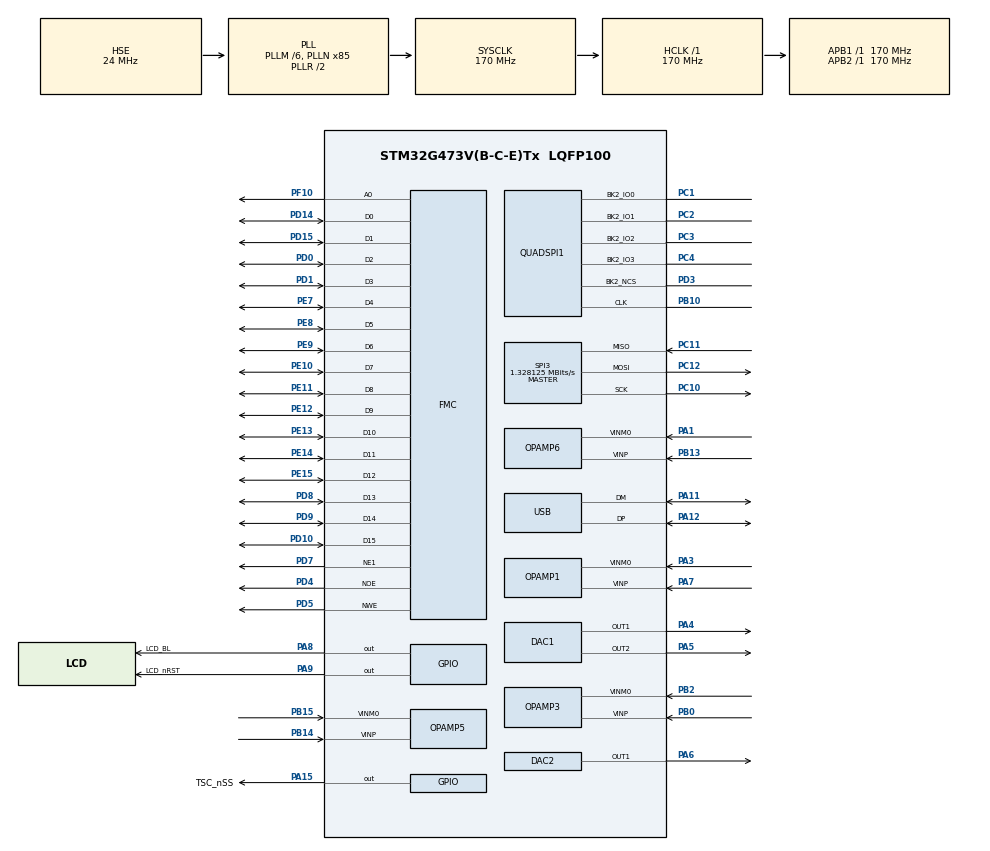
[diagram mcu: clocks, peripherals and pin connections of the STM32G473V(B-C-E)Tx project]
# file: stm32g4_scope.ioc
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ADC1.AWD1HighThreshold=4095
ADC1.AWD1ITMode=ENABLE
ADC1.AWD1LowThreshold=2048+768
ADC1.AWD2HighThreshold=2048+768
ADC1.AWD2ITMode=ENABLE
ADC1.AWDChannel-1\#ChannelRegularConversion=ADC_CHANNEL_VOPAMP1
ADC1.Channel-1\#ChannelRegularConversion=ADC_CHANNEL_VOPAMP1
ADC1.DMAContinuousRequests=ENABLE
ADC1.EnableAnalogWatchDog1=true
ADC1.EnableAnalogWatchDog2=true
ADC1.ExternalTrigConv=ADC_EXTERNALTRIG_T2_TRGO
ADC1.MonitoredBy-1\#ChannelRegularConversion=ADC_ANALOGWATCHDOG_2
ADC1.NbrOfConversionFlag=1
ADC1.OffsetNumber-1\#ChannelRegularConversion=ADC_OFFSET_NONE
ADC1.Rank-1\#ChannelRegularConversion=1
ADC1.RegFilteringConfig-1\#ChannelRegularConversion=ADC_AWD_FILTERING_NONE
ADC1.SamplingTime-1\#ChannelRegularConversion=ADC_SAMPLETIME_2CYCLES_5
ADC1.WDG2ChannelR1=ADC_CHANNEL_VOPAMP1
ADC1.WatchdogChannel=ADC_CHANNEL_VOPAMP1
ADC1.WatchdogMode2=ADC_ANALOGWATCHDOG_SINGLE_REGINJEC
ADC1.master=1
ADC3.AWD1ITMode=ENABLE
ADC3.AWD2ITMode=ENABLE
ADC3.AWDChannel-0\#ChannelRegularConversion=ADC_CHANNEL_VOPAMP3_ADC3
ADC3.Channel-0\#ChannelRegularConversion=ADC_CHANNEL_VOPAMP3_ADC3
ADC3.DMAContinuousRequests=ENABLE
ADC3.EnableAnalogWatchDog1=true
ADC3.EnableAnalogWatchDog2=true
ADC3.ExternalTrigConv=ADC_EXTERNALTRIG_T2_TRGO
ADC3.MonitoredBy-0\#ChannelRegularConversion=ADC_ANALOGWATCHDOG_2
ADC3.NbrOfConversionFlag=1
ADC3.OffsetNumber-0\#ChannelRegularConversion=ADC_OFFSET_NONE
ADC3.Rank-0\#ChannelRegularConversion=1
ADC3.RegFilteringConfig-0\#ChannelRegularConversion=ADC_AWD_FILTERING_NONE
ADC3.SamplingTime-0\#ChannelRegularConversion=ADC_SAMPLETIME_2CYCLES_5
ADC3.WDG2ChannelR1=ADC_CHANNEL_VOPAMP3_ADC3
ADC3.WatchdogChannel=ADC_CHANNEL_VOPAMP3_ADC3
ADC3.WatchdogMode2=ADC_ANALOGWATCHDOG_SINGLE_REGINJEC
ADC3.master=1
ADC4.AWD1ITMode=ENABLE
ADC4.AWD2ITMode=ENABLE
ADC4.AWDChannel-0\#ChannelRegularConversion=ADC_CHANNEL_VOPAMP6
ADC4.Channel-0\#ChannelRegularConversion=ADC_CHANNEL_VOPAMP6
ADC4.DMAContinuousRequests=ENABLE
ADC4.EnableAnalogWatchDog1=true
ADC4.EnableAnalogWatchDog2=true
ADC4.ExternalTrigConv=ADC_EXTERNALTRIG_T2_TRGO
ADC4.MonitoredBy-0\#ChannelRegularConversion=ADC_ANALOGWATCHDOG_2
ADC4.NbrOfConversionFlag=1
ADC4.OffsetNumber-0\#ChannelRegularConversion=ADC_OFFSET_NONE
ADC4.Rank-0\#ChannelRegularConversion=1
ADC4.RegFilteringConfig-0\#ChannelRegularConversion=ADC_AWD_FILTERING_NONE
ADC4.SamplingTime-0\#ChannelRegularConversion=ADC_SAMPLETIME_2CYCLES_5
ADC4.WDG2ChannelR1=ADC_CHANNEL_VOPAMP6
ADC4.WatchdogChannel=ADC_CHANNEL_VOPAMP6
ADC4.WatchdogMode2=ADC_ANALOGWATCHDOG_SINGLE_REGINJEC
ADC5.AWD1ITMode=ENABLE
ADC5.AWD2ITMode=ENABLE
ADC5.AWDChannel-0\#ChannelRegularConversion=ADC_CHANNEL_VOPAMP5
ADC5.Channel-0\#ChannelRegularConversion=ADC_CHANNEL_VOPAMP5
ADC5.DMAContinuousRequests=ENABLE
ADC5.EnableAnalogWatchDog1=true
ADC5.EnableAnalogWatchDog2=true
ADC5.ExternalTrigConv=ADC_EXTERNALTRIG_T2_TRGO
ADC5.MonitoredBy-0\#ChannelRegularConversion=ADC_ANALOGWATCHDOG_2
ADC5.NbrOfConversionFlag=1
ADC5.OffsetNumber-0\#ChannelRegularConversion=ADC_OFFSET_NONE
ADC5.Rank-0\#ChannelRegularConversion=1
ADC5.RegFilteringConfig-0\#ChannelRegularConversion=ADC_AWD_FILTERING_NONE
ADC5.SamplingTime-0\#ChannelRegularConversion=ADC_SAMPLETIME_2CYCLES_5
ADC5.WDG2ChannelR1=ADC_CHANNEL_VOPAMP5
ADC5.WatchdogChannel=ADC_CHANNEL_VOPAMP5
ADC5.WatchdogMode2=ADC_ANALOGWATCHDOG_SINGLE_REGINJEC
DAC1.DAC_Channel-DAC_OUT2=DAC_CHANNEL_2
DAC1.DAC_Trigger_OUT1-DAC_OUT1=DAC_TRIGGER_T4_TRGO
DAC1.DAC_Trigger_OUT2-DAC_OUT2=DAC_TRIGGER_T6_TRGO
Dma.ADC1.0.Direction=DMA_PERIPH_TO_MEMORY
Dma.ADC1.0.EventEnable=DISABLE
Dma.ADC1.0.Instance=DMA1_Channel1
Dma.ADC1.0.MemDataAlignment=DMA_MDATAALIGN_HALFWORD
Dma.ADC1.0.MemInc=DMA_MINC_ENABLE
Dma.ADC1.0.Mode=DMA_CIRCULAR
Dma.ADC1.0.PeriphDataAlignment=DMA_PDATAALIGN_HALFWORD
Dma.ADC1.0.PeriphInc=DMA_PINC_DISABLE
Dma.ADC1.0.Polarity=HAL_DMAMUX_REQ_GEN_RISING
Dma.ADC1.0.Priority=DMA_PRIORITY_LOW
Dma.ADC1.0.RequestNumber=1
Dma.ADC1.0.SignalID=NONE
Dma.ADC1.0.SyncEnable=DISABLE
Dma.ADC1.0.SyncPolarity=HAL_DMAMUX_SYNC_NO_EVENT
Dma.ADC1.0.SyncRequestNumber=1
Dma.ADC1.0.SyncSignalID=NONE
Dma.ADC3.2.Direction=DMA_PERIPH_TO_MEMORY
Dma.ADC3.2.EventEnable=DISABLE
Dma.ADC3.2.Instance=DMA1_Channel2
Dma.ADC3.2.MemDataAlignment=DMA_MDATAALIGN_HALFWORD
Dma.ADC3.2.MemInc=DMA_MINC_ENABLE
Dma.ADC3.2.Mode=DMA_CIRCULAR
Dma.ADC3.2.PeriphDataAlignment=DMA_PDATAALIGN_HALFWORD
Dma.ADC3.2.PeriphInc=DMA_PINC_DISABLE
Dma.ADC3.2.Polarity=HAL_DMAMUX_REQ_GEN_RISING
Dma.ADC3.2.Priority=DMA_PRIORITY_LOW
Dma.ADC3.2.RequestNumber=1
Dma.ADC3.2.SignalID=NONE
Dma.ADC3.2.SyncEnable=DISABLE
Dma.ADC3.2.SyncPolarity=HAL_DMAMUX_SYNC_NO_EVENT
Dma.ADC3.2.SyncRequestNumber=1
Dma.ADC3.2.SyncSignalID=NONE
Dma.ADC4.3.Direction=DMA_PERIPH_TO_MEMORY
Dma.ADC4.3.EventEnable=DISABLE
Dma.ADC4.3.Instance=DMA1_Channel3
Dma.ADC4.3.MemDataAlignment=DMA_MDATAALIGN_HALFWORD
Dma.ADC4.3.MemInc=DMA_MINC_ENABLE
Dma.ADC4.3.Mode=DMA_CIRCULAR
Dma.ADC4.3.PeriphDataAlignment=DMA_PDATAALIGN_HALFWORD
Dma.ADC4.3.PeriphInc=DMA_PINC_DISABLE
Dma.ADC4.3.Polarity=HAL_DMAMUX_REQ_GEN_RISING
Dma.ADC4.3.Priority=DMA_PRIORITY_LOW
Dma.ADC4.3.RequestNumber=1
Dma.ADC4.3.SignalID=NONE
Dma.ADC4.3.SyncEnable=DISABLE
Dma.ADC4.3.SyncPolarity=HAL_DMAMUX_SYNC_NO_EVENT
Dma.ADC4.3.SyncRequestNumber=1
Dma.ADC4.3.SyncSignalID=NONE
Dma.ADC5.4.Direction=DMA_PERIPH_TO_MEMORY
Dma.ADC5.4.EventEnable=DISABLE
Dma.ADC5.4.Instance=DMA1_Channel4
Dma.ADC5.4.MemDataAlignment=DMA_MDATAALIGN_HALFWORD
Dma.ADC5.4.MemInc=DMA_MINC_ENABLE
Dma.ADC5.4.Mode=DMA_CIRCULAR
Dma.ADC5.4.PeriphDataAlignment=DMA_PDATAALIGN_HALFWORD
Dma.ADC5.4.PeriphInc=DMA_PINC_DISABLE
Dma.ADC5.4.Polarity=HAL_DMAMUX_REQ_GEN_RISING
Dma.ADC5.4.Priority=DMA_PRIORITY_LOW
Dma.ADC5.4.RequestNumber=1
Dma.ADC5.4.SignalID=NONE
Dma.ADC5.4.SyncEnable=DISABLE
Dma.ADC5.4.SyncPolarity=HAL_DMAMUX_SYNC_NO_EVENT
Dma.ADC5.4.SyncRequestNumber=1
Dma.ADC5.4.SyncSignalID=NONE
Dma.DAC1_CH1.1.Direction=DMA_MEMORY_TO_PERIPH
Dma.DAC1_CH1.1.EventEnable=DISABLE
Dma.DAC1_CH1.1.Instance=DMA2_Channel1
Dma.DAC1_CH1.1.MemDataAlignment=DMA_MDATAALIGN_HALFWORD
Dma.DAC1_CH1.1.MemInc=DMA_MINC_ENABLE
Dma.DAC1_CH1.1.Mode=DMA_CIRCULAR
Dma.DAC1_CH1.1.PeriphDataAlignment=DMA_PDATAALIGN_WORD
Dma.DAC1_CH1.1.PeriphInc=DMA_PINC_DISABLE
Dma.DAC1_CH1.1.Polarity=HAL_DMAMUX_REQ_GEN_RISING
Dma.DAC1_CH1.1.Priority=DMA_PRIORITY_LOW
Dma.DAC1_CH1.1.RequestNumber=1
Dma.DAC1_CH1.1.SignalID=NONE
Dma.DAC1_CH1.1.SyncEnable=DISABLE
Dma.DAC1_CH1.1.SyncPolarity=HAL_DMAMUX_SYNC_NO_EVENT
Dma.DAC1_CH1.1.SyncRequestNumber=1
Dma.DAC1_CH1.1.SyncSignalID=NONE
Dma.DAC1_CH2.5.Direction=DMA_MEMORY_TO_PERIPH
Dma.DAC1_CH2.5.EventEnable=DISABLE
Dma.DAC1_CH2.5.Instance=DMA2_Channel2
Dma.DAC1_CH2.5.MemDataAlignment=DMA_MDATAALIGN_HALFWORD
Dma.DAC1_CH2.5.MemInc=DMA_MINC_ENABLE
Dma.DAC1_CH2.5.Mode=DMA_CIRCULAR
Dma.DAC1_CH2.5.PeriphDataAlignment=DMA_PDATAALIGN_WORD
Dma.DAC1_CH2.5.PeriphInc=DMA_PINC_DISABLE
Dma.DAC1_CH2.5.Polarity=HAL_DMAMUX_REQ_GEN_RISING
Dma.DAC1_CH2.5.Priority=DMA_PRIORITY_LOW
Dma.DAC1_CH2.5.RequestNumber=1
Dma.DAC1_CH2.5.SignalID=NONE
Dma.DAC1_CH2.5.SyncEnable=DISABLE
Dma.DAC1_CH2.5.SyncPolarity=HAL_DMAMUX_SYNC_NO_EVENT
Dma.DAC1_CH2.5.SyncRequestNumber=1
Dma.DAC1_CH2.5.SyncSignalID=NONE
Dma.QUADSPI.6.Direction=DMA_PERIPH_TO_MEMORY
Dma.QUADSPI.6.EventEnable=DISABLE
Dma.QUADSPI.6.Instance=DMA1_Channel5
Dma.QUADSPI.6.MemDataAlignment=DMA_MDATAALIGN_BYTE
Dma.QUADSPI.6.MemInc=DMA_MINC_ENABLE
Dma.QUADSPI.6.Mode=DMA_NORMAL
Dma.QUADSPI.6.PeriphDataAlignment=DMA_PDATAALIGN_BYTE
Dma.QUADSPI.6.PeriphInc=DMA_PINC_DISABLE
Dma.QUADSPI.6.Polarity=HAL_DMAMUX_REQ_GEN_RISING
Dma.QUADSPI.6.Priority=DMA_PRIORITY_LOW
Dma.QUADSPI.6.RequestNumber=1
Dma.QUADSPI.6.SignalID=NONE
Dma.QUADSPI.6.SyncEnable=DISABLE
Dma.QUADSPI.6.SyncPolarity=HAL_DMAMUX_SYNC_NO_EVENT
Dma.QUADSPI.6.SyncRequestNumber=1
Dma.QUADSPI.6.SyncSignalID=NONE
Dma.Request0=ADC1
Dma.Request1=DAC1_CH1
Dma.Request2=ADC3
Dma.Request3=ADC4
Dma.Request4=ADC5
Dma.Request5=DAC1_CH2
Dma.Request6=QUADSPI
FMC.AddressSetupTime1=0
FMC.BusTurnAroundDuration1=0
FMC.DataSetupTime1=1
FMC.ExtendedMode1=FMC_EXTENDED_MODE_DISABLE
FREERTOS.BinarySemaphores01=semaphoreLcd,Dynamic,NULL
FREERTOS.Queues01=queueTscUi,4,uint16_t,0,Dynamic,NULL,NULL;queueUiLcd,4,uint16_t,0,Dynamic,NULL,NULL;queueUiScope,4,uint16_t,0,Dynamic,NULL,NULL;queueUiWavegen,4,uint16_t,0,Dynamic,NULL,NULL
FREERTOS.Tasks01=defaultTask,8,128,StartDefaultTask,Default,NULL,Dynamic,NULL,NULL;taskTsc,25,256,StartTaskTsc,Default,NULL,Dynamic,NULL,NULL;taskUi,24,128,StartTaskUi,As external,NULL,Dynamic,NULL,NULL;taskScope,24,128,StartTaskScope,As external,NULL,Dynamic,NULL,NULL;taskWavegen,24,128,StartTaskWavegen,As external,NULL,Dynamic,NULL,NULL
FREERTOS.configTOTAL_HEAP_SIZE=16384
FREERTOS.configUSE_NEWLIB_REENTRANT=1
Mcu.Family=STM32G4
Mcu.Name=STM32G473V(B-C-E)Tx
Mcu.Package=LQFP100
NVIC.ADC1_2_IRQn=true\:5\:0\:false\:false\:true\:true\:true\:true\:true
NVIC.ADC3_IRQn=true\:5\:0\:false\:false\:true\:true\:true\:true\:true
NVIC.ADC4_IRQn=true\:5\:0\:false\:false\:true\:true\:true\:true\:true
NVIC.ADC5_IRQn=true\:5\:0\:false\:false\:true\:true\:true\:true\:true
NVIC.DMA1_Channel1_IRQn=true\:5\:0\:false\:false\:true\:true\:false\:true\:true
NVIC.DMA1_Channel2_IRQn=true\:5\:0\:false\:false\:true\:true\:false\:true\:true
NVIC.DMA1_Channel3_IRQn=true\:5\:0\:false\:false\:true\:true\:false\:true\:true
NVIC.DMA1_Channel4_IRQn=true\:5\:0\:false\:false\:true\:true\:false\:true\:true
NVIC.DMA1_Channel5_IRQn=true\:5\:0\:false\:false\:true\:true\:false\:true\:true
NVIC.DMA2_Channel1_IRQn=true\:5\:0\:false\:false\:true\:false\:false\:true\:true
NVIC.DMA2_Channel2_IRQn=true\:5\:0\:false\:false\:true\:true\:false\:true\:true
NVIC.PriorityGroup=NVIC_PRIORITYGROUP_4
NVIC.QUADSPI_IRQn=true\:5\:0\:false\:false\:true\:true\:true\:true\:true
NVIC.TIM1_UP_TIM16_IRQn=true\:15\:0\:false\:false\:true\:false\:false\:true\:true
NVIC.TIM3_IRQn=true\:5\:0\:false\:false\:true\:true\:true\:true\:true
NVIC.TimeBase=TIM1_UP_TIM16_IRQn
NVIC.TimeBaseIP=TIM1
NVIC.USB_LP_IRQn=true\:5\:0\:false\:false\:true\:true\:false\:true\:true
PA1.Mode=PGA Internally connected_IO0_BIAS
PA1.Signal=OPAMP6_VINM0
PA11.Mode=Device
PA11.Signal=USB_DM
PA12.Mode=Device
PA12.Signal=USB_DP
PA13.Mode=Trace_Asynchronous_SW
PA13.Signal=SYS_JTMS-SWDIO
PA14.Mode=Trace_Asynchronous_SW
PA14.Signal=SYS_JTCK-SWCLK
PA15.GPIO_Label=TSC_nSS
PA15.Signal=GPIO_Output
PA3.Mode=PGA Internally connected_IO0_BIAS
PA3.Signal=OPAMP1_VINM0
PA4.Signal=COMP_DAC11_group
PA5.Signal=COMP_DAC12_group
PA6.Signal=COMP_DAC21_group
PA7.Mode=PGA Internally connected_IO0_BIAS
PA7.Signal=OPAMP1_VINP
PA8.GPIO_Label=LCD_BL
PA8.Signal=GPIO_Output
PA9.GPIO_Label=LCD_nRST
PA9.Signal=GPIO_Output
PB0.Mode=PGA Internally connected_IO0_BIAS
PB0.Signal=OPAMP3_VINP
PB10.GPIO_Speed=GPIO_SPEED_FREQ_VERY_HIGH
PB10.Mode=Single Bank 2
PB10.Signal=QUADSPI1_CLK
PB13.Mode=PGA Internally connected_IO0_BIAS
PB13.Signal=OPAMP6_VINP
PB14.Mode=PGA Internally connected_IO0_BIAS
PB14.Signal=OPAMP5_VINP
PB15.Mode=PGA Internally connected_IO0_BIAS
PB15.Signal=OPAMP5_VINM0
PB2.Mode=PGA Internally connected_IO0_BIAS
PB2.Signal=OPAMP3_VINM0
PB3.Mode=Trace_Asynchronous_SW
PB3.Signal=SYS_JTDO-SWO
PC1.GPIO_Speed=GPIO_SPEED_FREQ_VERY_HIGH
PC1.Mode=Single Bank 2
PC1.Signal=QUADSPI1_BK2_IO0
PC10.Mode=Full_Duplex_Master
PC10.Signal=SPI3_SCK
PC11.Mode=Full_Duplex_Master
PC11.Signal=SPI3_MISO
PC12.Mode=Full_Duplex_Master
PC12.Signal=SPI3_MOSI
PC2.GPIO_Speed=GPIO_SPEED_FREQ_VERY_HIGH
PC2.Mode=Single Bank 2
PC2.Signal=QUADSPI1_BK2_IO1
PC3.GPIO_Speed=GPIO_SPEED_FREQ_VERY_HIGH
PC3.Mode=Single Bank 2
PC3.Signal=QUADSPI1_BK2_IO2
PC4.GPIO_Speed=GPIO_SPEED_FREQ_VERY_HIGH
PC4.Mode=Single Bank 2
PC4.Signal=QUADSPI1_BK2_IO3
PD0.Mode=16b-d1
PD0.Signal=FMC_D2
PD1.Mode=16b-d1
PD1.Signal=FMC_D3
PD10.Mode=16b-d1
PD10.Signal=FMC_D15
PD14.Mode=16b-d1
PD14.Signal=FMC_D0
PD15.Mode=16b-d1
PD15.Signal=FMC_D1
PD3.GPIO_Speed=GPIO_SPEED_FREQ_VERY_HIGH
PD3.Mode=Single Bank 2
PD3.Signal=QUADSPI1_BK2_NCS
PD4.Mode=Lcd1
PD4.Signal=FMC_NOE
PD5.Mode=Lcd1
PD5.Signal=FMC_NWE
PD7.Mode=NorPsramChipSelect1_1
PD7.Signal=FMC_NE1
PD8.Mode=16b-d1
PD8.Signal=FMC_D13
PD9.Mode=16b-d1
PD9.Signal=FMC_D14
PE10.Mode=16b-d1
PE10.Signal=FMC_D7
PE11.Mode=16b-d1
PE11.Signal=FMC_D8
PE12.Mode=16b-d1
PE12.Signal=FMC_D9
PE13.Mode=16b-d1
PE13.Signal=FMC_D10
PE14.Mode=16b-d1
PE14.Signal=FMC_D11
PE15.Mode=16b-d1
PE15.Signal=FMC_D12
PE7.Mode=16b-d1
PE7.Signal=FMC_D4
PE8.Mode=16b-d1
PE8.Signal=FMC_D5
PE9.Mode=16b-d1
PE9.Signal=FMC_D6
PF0-OSC_IN.Mode=HSE-External-Oscillator
PF0-OSC_IN.Signal=RCC_OSC_IN
PF1-OSC_OUT.Mode=HSE-External-Oscillator
PF1-OSC_OUT.Signal=RCC_OSC_OUT
PF10.Mode=A0_1
PF10.Signal=FMC_A0
ProjectManager.HeapSize=0x200
ProjectManager.StackSize=0x400
ProjectManager.TargetToolchain=STM32CubeIDE
QUADSPI1.ClockPrescaler=6
QUADSPI1.FlashSize=23
RCC.ADC12Freq_Value=170000000
RCC.ADC345Freq_Value=170000000
RCC.AHBFreq_Value=170000000
RCC.APB1Freq_Value=170000000
RCC.APB1TimFreq_Value=170000000
RCC.APB2Freq_Value=170000000
RCC.APB2TimFreq_Value=170000000
RCC.CK48CLockSelection=RCC_USBCLKSOURCE_HSI48
RCC.CortexFreq_Value=170000000
RCC.EXTERNAL_CLOCK_VALUE=12288000
RCC.HCLKFreq_Value=170000000
RCC.HSE_VALUE=24000000
RCC.HSI48_VALUE=48000000
RCC.HSI_VALUE=16000000
RCC.LSE_VALUE=32768
RCC.PLLM=RCC_PLLM_DIV6
RCC.PLLN=85
RCC.PLLSourceVirtual=RCC_PLLSOURCE_HSE
RCC.SYSCLKFreq_VALUE=170000000
RCC.SYSCLKSource=RCC_SYSCLKSOURCE_PLLCLK
RCC.USBFreq_Value=48000000
RCC.VCOOutputFreq_Value=340000000
SH.COMP_DAC11_group.0=DAC1_OUT1,DAC_OUT1
SH.COMP_DAC12_group.0=DAC1_OUT2,DAC_OUT2
SH.COMP_DAC21_group.0=DAC2_OUT1,DAC_OUT1
SPI3.BaudRatePrescaler=SPI_BAUDRATEPRESCALER_128
SPI3.CalculateBaudRate=1.328125 MBits/s
SPI3.DataSize=SPI_DATASIZE_8BIT
SPI3.Direction=SPI_DIRECTION_2LINES
SPI3.Mode=SPI_MODE_MASTER
SPI3.NSSPMode=SPI_NSS_PULSE_DISABLE
SPI3.VirtualType=VM_MASTER
TIM2.PeriodNoDither=2-1
TIM2.Prescaler=85-1
TIM2.TIM_MasterOutputTrigger=TIM_TRGO_UPDATE
TIM3.Channel-Output\ Compare1\ No\ Output=TIM_CHANNEL_1
TIM3.PeriodNoDither=512-1
TIM3.Prescaler=85-1
TIM3.PulseNoDither_1=512-1
TIM4.PeriodNoDither=2-1
TIM4.Prescaler=85-1
TIM4.TIM_MasterOutputTrigger=TIM_TRGO_UPDATE
TIM6.PeriodNoDither=2-1
TIM6.Prescaler=85-1
TIM6.TIM_MasterOutputTrigger=TIM_TRGO_UPDATE
USB_DEVICE.CLASS_NAME_FS=CDC
USB_DEVICE.VirtualMode=Cdc
USB_DEVICE.VirtualModeFS=Cdc_FS
VP_ADC1_OPAMP_INTERNAL1.Mode=IN-OPAMP1
VP_ADC3_OPAMP_INTERNAL3.Mode=IN-OPAMP3
VP_ADC4_OPAMP_INTERNAL6.Mode=IN-OPAMP6
VP_ADC5_OPAMP_INTERNAL5.Mode=IN-OPAMP5
VP_FREERTOS_VS_CMSIS_V2.Mode=CMSIS_V2
VP_SYS_VS_tim1.Mode=TIM1
VP_SYS_V_VREFBUF.Mode=ExternalMode
VP_TIM2_VS_ClockSourceINT.Mode=Internal
VP_TIM3_VS_ClockSourceINT.Mode=Internal
VP_TIM3_VS_no_output1.Mode=Output Compare1 No Output
VP_TIM4_VS_ClockSourceINT.Mode=Internal
VP_TIM6_VS_ClockSourceINT.Mode=Enable_Timer
VP_USB_DEVICE_VS_USB_DEVICE_CDC_FS.Mode=CDC_FS
board=custom

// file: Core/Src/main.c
/* USER CODE BEGIN Header */
/**
  ******************************************************************************
  * @file           : main.c
  * @brief          : Main program body
  ******************************************************************************
  * @attention
  *
  * Copyright (c) 2023 STMicroelectronics.
  * All rights reserved.
  *
  * This software is licensed under terms that can be found in the LICENSE file
  * in the root directory of this software component.
  * If no LICENSE file comes with this software, it is provided AS-IS.
  *
  ******************************************************************************
  */
/* USER CODE END Header */
#include "main.h"
#include "cmsis_os.h"
#include "adc.h"
#include "dac.h"
#include "dma.h"
#include "opamp.h"
#include "quadspi.h"
#include "spi.h"
#include "tim.h"
#include "usb_device.h"
#include "gpio.h"
#include "fmc.h"

void SystemClock_Config(void);
void MX_FREERTOS_Init(void);
/* USER CODE BEGIN PFP */
int _write(int file, char *ptr, int len)
{
	int DataIdx;
	for(DataIdx = 0; DataIdx < len; DataIdx++)
	{
		ITM_SendChar(*ptr++);
	}
    return len;
}
/* USER CODE END PFP */

int main(void)
{

  /* MCU Configuration--------------------------------------------------------*/

  /* Reset of all peripherals, Initializes the Flash interface and the Systick. */
  HAL_Init();

  /* Configure the system clock */
  SystemClock_Config();

  /* Initialize all configured peripherals */
  MX_GPIO_Init();
  MX_DMA_Init();
  MX_ADC1_Init();
  MX_OPAMP1_Init();
  MX_DAC1_Init();
  MX_DAC2_Init();
  MX_TIM2_Init();
  MX_TIM3_Init();
  MX_FMC_Init();
  MX_TIM4_Init();
  MX_ADC3_Init();
  MX_OPAMP3_Init();
  MX_OPAMP5_Init();
  MX_OPAMP6_Init();
  MX_ADC4_Init();
  MX_ADC5_Init();
  MX_SPI3_Init();
  MX_QUADSPI1_Init();
  MX_TIM6_Init();
  MX_USB_Device_Init();

  /* Init scheduler */
  osKernelInitialize();  /* Call init function for freertos objects (in freertos.c) */
  MX_FREERTOS_Init();

  /* Start scheduler */
  osKernelStart();

  /* We should never get here as control is now taken by the scheduler */
  /* Infinite loop */
  while (1)
  {

  }
}

void SystemClock_Config(void)
{
  RCC_OscInitTypeDef RCC_OscInitStruct = {0};
  RCC_ClkInitTypeDef RCC_ClkInitStruct = {0};

  /** Configure the main internal regulator output voltage
  */
  HAL_PWREx_ControlVoltageScaling(PWR_REGULATOR_VOLTAGE_SCALE1_BOOST);

  /** Initializes the RCC Oscillators according to the specified parameters
  * in the RCC_OscInitTypeDef structure.
  */
  RCC_OscInitStruct.OscillatorType = RCC_OSCILLATORTYPE_HSI48|RCC_OSCILLATORTYPE_HSE;
  RCC_OscInitStruct.HSEState = RCC_HSE_ON;
  RCC_OscInitStruct.HSI48State = RCC_HSI48_ON;
  RCC_OscInitStruct.PLL.PLLState = RCC_PLL_ON;
  RCC_OscInitStruct.PLL.PLLSource = RCC_PLLSOURCE_HSE;
  RCC_OscInitStruct.PLL.PLLM = RCC_PLLM_DIV6;
  RCC_OscInitStruct.PLL.PLLN = 85;
  RCC_OscInitStruct.PLL.PLLP = RCC_PLLP_DIV2;
  RCC_OscInitStruct.PLL.PLLQ = RCC_PLLQ_DIV2;
  RCC_OscInitStruct.PLL.PLLR = RCC_PLLR_DIV2;
  if (HAL_RCC_OscConfig(&RCC_OscInitStruct) != HAL_OK)
  {
    Error_Handler();
  }

  /** Initializes the CPU, AHB and APB buses clocks
  */
  RCC_ClkInitStruct.ClockType = RCC_CLOCKTYPE_HCLK|RCC_CLOCKTYPE_SYSCLK
                              |RCC_CLOCKTYPE_PCLK1|RCC_CLOCKTYPE_PCLK2;
  RCC_ClkInitStruct.SYSCLKSource = RCC_SYSCLKSOURCE_PLLCLK;
  RCC_ClkInitStruct.AHBCLKDivider = RCC_SYSCLK_DIV1;
  RCC_ClkInitStruct.APB1CLKDivider = RCC_HCLK_DIV1;
  RCC_ClkInitStruct.APB2CLKDivider = RCC_HCLK_DIV1;

  if (HAL_RCC_ClockConfig(&RCC_ClkInitStruct, FLASH_LATENCY_4) != HAL_OK)
  {
    Error_Handler();
  }
}

void HAL_TIM_PeriodElapsedCallback(TIM_HandleTypeDef *htim)
{
  if (htim->Instance == TIM1) {
    HAL_IncTick();
  }
}

void Error_Handler(void)
{
  __disable_irq();
  while (1)
  {
  }
}

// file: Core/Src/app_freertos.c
/* USER CODE BEGIN Header */
/**
  ******************************************************************************
  * File Name          : app_freertos.c
  * Description        : Code for freertos applications
  ******************************************************************************
  * @attention
  *
  * Copyright (c) 2023 STMicroelectronics.
  * All rights reserved.
  *
  * This software is licensed under terms that can be found in the LICENSE file
  * in the root directory of this software component.
  * If no LICENSE file comes with this software, it is provided AS-IS.
  *
  ******************************************************************************
  */
/* USER CODE END Header */

#include "FreeRTOS.h"
#include "task.h"
#include "main.h"
#include "cmsis_os.h"

/* USER CODE BEGIN Includes */
#include "scope_tasks.h"
/* USER CODE END Includes */

/* Definitions for defaultTask */
osThreadId_t defaultTaskHandle;
const osThreadAttr_t defaultTask_attributes = {
  .name = "defaultTask",
  .priority = (osPriority_t) osPriorityLow,
  .stack_size = 128 * 4
};
/* Definitions for taskTsc */
osThreadId_t taskTscHandle;
const osThreadAttr_t taskTsc_attributes = {
  .name = "taskTsc",
  .priority = (osPriority_t) osPriorityNormal1,
  .stack_size = 256 * 4
};
/* Definitions for taskUi */
osThreadId_t taskUiHandle;
const osThreadAttr_t taskUi_attributes = {
  .name = "taskUi",
  .priority = (osPriority_t) osPriorityNormal,
  .stack_size = 1024 * 4 + 128 *2
};
/* Definitions for taskScope */
osThreadId_t taskScopeHandle;
const osThreadAttr_t taskScope_attributes = {
  .name = "taskScope",
  .priority = (osPriority_t) osPriorityNormal2,
  .stack_size = 128 * 6 + 128
};
/* Definitions for taskWavegen */
osThreadId_t taskWavegenHandle;
const osThreadAttr_t taskWavegen_attributes = {
  .name = "taskWavegen",
  .priority = (osPriority_t) osPriorityNormal2,
  .stack_size = 128 * 4
};
/* Definitions for queueTscUi */
osMessageQueueId_t queueTscUiHandle;
const osMessageQueueAttr_t queueTscUi_attributes = {
  .name = "queueTscUi"
};
/* Definitions for queueUiLcd */
osMessageQueueId_t queueUiLcdHandle;
const osMessageQueueAttr_t queueUiLcd_attributes = {
  .name = "queueUiLcd"
};
/* Definitions for queueUiScope */
osMessageQueueId_t queueUiScopeHandle;
const osMessageQueueAttr_t queueUiScope_attributes = {
  .name = "queueUiScope"
};
/* Definitions for queueUiWavegen */
osMessageQueueId_t queueUiWavegenHandle;
const osMessageQueueAttr_t queueUiWavegen_attributes = {
  .name = "queueUiWavegen"
};
/* Definitions for semaphoreLcd */
osSemaphoreId_t semaphoreLcdHandle;
const osSemaphoreAttr_t semaphoreLcd_attributes = {
  .name = "semaphoreLcd"
};

/* USER CODE BEGIN FunctionPrototypes */
/*struct sQueueTscUi {
    uint16_t p;
    uint16_t x;
    uint16_t y;
};
osMessageQueueId_t queueTscUiHandle;
const osMessageQueueAttr_t queueTscUi_attributes = {
  .name = "queueTscUi"
};

struct sQueueUiLcd {
    uint16_t x;
    uint16_t y;
    uint16_t w;
    uint16_t h;
    uint16_t *buf;
};

osMessageQueueId_t queueUiLcdHandle;
const osMessageQueueAttr_t queueUiLcd_attributes = {
  .name = "queueUiLcd"
};

// declare and initialize the semaphoreLcdHandle
osSemaphoreId_t semaphoreLcdHandle;
const osSemaphoreAttr_t semaphoreLcd_attributes = {
  .name = "semaphoreLcd"
};

struct sQueueUiScope {
    uint16_t type;
    uint16_t data[8];
};

osMessageQueueId_t queueUiScopeHandle;
const osMessageQueueAttr_t queueUiScope_attributes = {
  .name = "queueUiScope"
};

struct sQueueUiWavegen {
    uint16_t type;
    uint16_t data[8];
};

osMessageQueueId_t queueUiWavegenHandle;
const osMessageQueueAttr_t queueUiWavegen_attributes = {
  .name = "queueUiWavegen"
};*/

/* USER CODE END FunctionPrototypes */

void StartDefaultTask(void *argument);
void StartTaskTsc(void *argument);
extern void StartTaskUi(void *argument);
extern void StartTaskScope(void *argument);
extern void StartTaskWavegen(void *argument);

void MX_FREERTOS_Init(void); /* (MISRA C 2004 rule 8.1) */

extern void ConfigureRuntimeStatsTimer();
void MX_FREERTOS_Init(void) {
  /* USER CODE BEGIN Init */
	//ConfigureRuntimeStatsTimer();
  /* USER CODE END Init */

  /* Create the semaphores(s) */
  /* creation of semaphoreLcd */
  //semaphoreLcdHandle = osSemaphoreNew(1, 1, &semaphoreLcd_attributes);

  /* USER CODE BEGIN RTOS_SEMAPHORES */
	semaphoreLcdHandle = osSemaphoreNew(1, 0, &semaphoreLcd_attributes);
  /* USER CODE END RTOS_SEMAPHORES */

  /* Create the queue(s) */
  /* creation of queueTscUi */
  queueTscUiHandle = osMessageQueueNew (1, sizeof(struct sQueueTscUi), &queueTscUi_attributes);

  /* creation of queueUiLcd */
  //queueUiLcdHandle = osMessageQueueNew (4, sizeof(struct sQueueUiLcd), &queueUiLcd_attributes);

  /* creation of queueUiScope */
  queueUiScopeHandle = osMessageQueueNew (4, sizeof(struct sQueueUiScope), &queueUiScope_attributes);

  /* creation of queueUiWavegen */
  queueUiWavegenHandle = osMessageQueueNew (4, sizeof(struct sQueueUiWavegen), &queueUiWavegen_attributes);

  /* USER CODE BEGIN RTOS_QUEUES */
	//queueTscUiHandle = osMessageQueueNew(1, sizeof(struct sQueueTscUi), &queueTscUi_attributes );
	//queueUiLcdHandle = osMessageQueueNew(1, sizeof(struct sQueueUiLcd), &queueUiLcd_attributes );
	//queueUiScopeHandle = osMessageQueueNew(1, sizeof(struct sQueueUiScope), &queueUiScope_attributes );
	//queueUiWavegenHandle = osMessageQueueNew(1, sizeof(struct sQueueUiWavegen), &queueUiWavegen_attributes );
  /* USER CODE END RTOS_QUEUES */

  /* Create the thread(s) */
  /* creation of defaultTask */
  defaultTaskHandle = osThreadNew(StartDefaultTask, NULL, &defaultTask_attributes);

  /* creation of taskTsc */
  taskTscHandle = osThreadNew(StartTaskTsc, NULL, &taskTsc_attributes);

  /* creation of taskUi */
  taskUiHandle = osThreadNew(StartTaskUi, NULL, &taskUi_attributes);

  /* creation of taskScope */
  taskScopeHandle = osThreadNew(StartTaskScope, NULL, &taskScope_attributes);

  /* creation of taskWavegen */
  taskWavegenHandle = osThreadNew(StartTaskWavegen, NULL, &taskWavegen_attributes);

}

//#include "lcd.h"
//extern tLcd lcd;
//uint8_t lcd_buf[480*2];
//#include "framebuf.h"
//extern tFramebuf fb;

// 'BBBhh', type, button, down, x, y
struct sUsbMsg{
	uint8_t type;
	uint8_t button;
	uint8_t down;
	int16_t x;
	int16_t y;
};
typedef struct sUsbMsg tUsbMsg;
tUsbMsg usb_msg;
uint8_t usb_buf[32];
uint8_t usb_buf_flag = 0;
#include "nuklear.h"
#define RECTS_LEN 64
extern struct nk_rect rects[RECTS_LEN];
extern int rects_max;
extern int rects_ptr;
extern int rects_pressed;

#include "cmsis_os.h"
#include "lcd.h"
#include "scope_tasks.h"
#include "font.h"
#include "FontUbuntuBookRNormal16.h"

int fsm_state = 0;

int is_value( struct nk_rect rect )
{
	if( rect.x == 10 &&
		rect.w == 20 &&
		rect.h == 30 )
	{
		return 1;
	}
	else
	{
		return 0;
	}
}

int is_scroll( struct nk_rect rect )
{
	if( rect.x == 10 &&
		rect.w == 20 &&
		rect.h == 30 )
	{
		return 1;
	}
	else
	{
		return 0;
	}

}
#define FSM_STATE_DEFAULT 	0
#define FSM_STATE_ON_VALUE 	1
#define FSM_STATE_ON_SCROLL 2
#include <string.h>
void fsm_process()
{
	struct sQueueTscUi msg = {0};

	switch( fsm_state )
	{
		case FSM_STATE_DEFAULT:
		{
			if( usb_buf_flag )
			{
				memcpy( &usb_msg, usb_buf, sizeof( usb_msg ) );
				usb_buf_flag = 0;
				switch( usb_msg.type )
				{
					case 0: // press
						if( is_value( rects[rects_ptr] ) )
						{
							if( usb_msg.button == 3 )
							{
								fsm_state = FSM_STATE_ON_VALUE;
							}
						}
						else if( is_scroll( rects[rects_ptr] ) )
						{
							if( usb_msg.button == 3 )
							{
								fsm_state = FSM_STATE_ON_SCROLL;
							}
						}
						else
						{
							if( usb_msg.button == 3 )
							{
								rects_pressed = 1;
								msg.p = 1;
								msg.x = rects[rects_ptr].x + rects[rects_ptr].w/2 + 240;
								msg.y = rects[rects_ptr].y + rects[rects_ptr].h/2;
								osMessageQueuePut(queueTscUiHandle, &msg, 0U, portMAX_DELAY);
							}
						}
						break;
					case 1: // release
						if( is_value( rects[rects_ptr] ) )
						{
							if( usb_msg.button == 3 )
							{
								fsm_state = FSM_STATE_ON_VALUE;
							}
						}
						else if( is_scroll( rects[rects_ptr] ) )
						{
							if( usb_msg.button == 3 )
							{
								fsm_state = FSM_STATE_ON_SCROLL;
							}
						}
						else
						{
							if( usb_msg.button == 3 )
							{
								rects_pressed = 0;
								msg.p = 0;
								msg.x = rects[rects_ptr].x + rects[rects_ptr].w/2 + 240;
								msg.y = rects[rects_ptr].y + rects[rects_ptr].h/2;
								osMessageQueuePut(queueTscUiHandle, &msg, 0U, portMAX_DELAY);
							}
						}
						break;
					case 2: // wheel
					{
						if( usb_msg.y == 120 )
						{
							if( rects_ptr > 0 )
							{
								rects_ptr -= 1;
							}
							else
							{
								rects_ptr = rects_max-1;
							}
						}
						else// if( usb_msg.y > 0 )
						{
				    		if( rects_ptr < rects_max )
				    		{
				    			rects_ptr += 1;
				    		}
				    		else
				    		{
				        		rects_ptr = 0;
				    		}
						}

						rects_pressed = 0;
						msg.p = 0;
						msg.x = rects[rects_ptr].x + rects[rects_ptr].w/2 + 240;
						msg.y = rects[rects_ptr].y + rects[rects_ptr].h/2;
						osMessageQueuePut(queueTscUiHandle, &msg, 0U, portMAX_DELAY);
						break;
					}
				}
			}
			break;
		}
		case FSM_STATE_ON_VALUE:
		{
			if( usb_buf_flag )
			{
				memcpy( &usb_msg, usb_buf, sizeof( usb_msg ) );
				usb_buf_flag = 0;
				switch( usb_msg.type )
				{
					case 0: // press
						//fsm_state = FSM_STATE_DEFAULT;
						break;
					case 1: // release
						fsm_state = FSM_STATE_DEFAULT;
						break;
					case 2: // wheel
					{
						rects_pressed = 0;
						msg.p = 0;
						msg.x = rects[rects_ptr].x + rects[rects_ptr].w/2 + 240;
						msg.y = rects[rects_ptr].y + rects[rects_ptr].h/2;
						osMessageQueuePut(queueTscUiHandle, &msg, 0U, portMAX_DELAY);
						break;
					}
				}
			}
			break;
		}
		case FSM_STATE_ON_SCROLL:
		{

			break;
		}
		default:
		{
			break;
		}
	}
}
void StartDefaultTask(void *argument)
{
	extern int ui_menu;
	struct sQueueTscUi msg = {0};
	while(1)
	{
		osDelay(50);
		if( usb_buf_flag ){
			memcpy( &usb_msg, usb_buf, sizeof( usb_msg ) );
			usb_buf_flag = 0;
			switch( usb_msg.type )
			{
				case 0: // BTN1
				{
					ui_menu = 1;
					rects_pressed = 0;
					msg.p = 0;
					msg.x = 0;
					msg.y = 0;
					//osMessageQueuePut(queueTscUiHandle, &msg, 0U, portMAX_DELAY);
					break;
				}
				case 1: // BTN2
				{
					ui_menu = 2;
					rects_pressed = 0;
					msg.p = 0;
					msg.x = 0;
					msg.y = 0;
					//osMessageQueuePut(queueTscUiHandle, &msg, 0U, portMAX_DELAY);
					break;
				}
				case 2: // BTN3
				{
					ui_menu = 3;
					rects_pressed = 0;
					msg.p = 0;
					msg.x = 0;
					msg.y = 0;
					//osMessageQueuePut(queueTscUiHandle, &msg, 0U, portMAX_DELAY);
					break;
				}
				case 3: // BTN4
				{
					ui_menu = 4;
					rects_pressed = 0;
					msg.p = 0;
					msg.x = 0;
					msg.y = 0;
					//osMessageQueuePut(queueTscUiHandle, &msg, 0U, portMAX_DELAY);
					break;
				}

				case 4: // INC
				{
					if( rects_ptr < rects_max )
					{
						rects_ptr += 1;
					}
					else
					{
						rects_ptr = 0;
					}
					rects_pressed = 0;
					msg.p = 0;
					msg.x = rects[rects_ptr].x + rects[rects_ptr].w/2 + 240;
					msg.y = rects[rects_ptr].y + rects[rects_ptr].h/2;
					osMessageQueuePut(queueTscUiHandle, &msg, 0U, portMAX_DELAY);
					break;
				}
				case 5: // DEC
				{
					if( rects_ptr > 0 )
					{
						rects_ptr -= 1;
					}
					else
					{
						rects_ptr = rects_max-1;
					}
					rects_pressed = 0;
					msg.p = 0;
					msg.x = rects[rects_ptr].x + rects[rects_ptr].w/2 + 240;
					msg.y = rects[rects_ptr].y + rects[rects_ptr].h/2;
					osMessageQueuePut(queueTscUiHandle, &msg, 0U, portMAX_DELAY);
					break;
				}
				case 6: // PRESS
				{
					rects_pressed = 1;
					msg.p = 1;
					msg.x = rects[rects_ptr].x + rects[rects_ptr].w/2 + 240;
					msg.y = rects[rects_ptr].y + rects[rects_ptr].h/2;
					osMessageQueuePut(queueTscUiHandle, &msg, 0U, portMAX_DELAY);

					rects_pressed = 0;
					msg.p = 0;
					msg.x = rects[rects_ptr].x + rects[rects_ptr].w/2 + 240;
					msg.y = rects[rects_ptr].y + rects[rects_ptr].h/2;
					osMessageQueuePut(queueTscUiHandle, &msg, 0U, portMAX_DELAY);
					break;
				}
				default:
					break;
			}

		}
	}
}
void _StartDefaultTask(void *argument)
{
	int i, j;
	osDelay(100);
  /* USER CODE BEGIN StartDefaultTask */
  /* Infinite loop */
	struct sQueueTscUi msg = {0};
  for(;;)
  {

	if( usb_buf_flag ){
		memcpy( &usb_msg, usb_buf, sizeof( usb_msg ) );
		//msg.p = 1;
		//msg.x = rects[rects_ptr].x+240 + 10;
		//msg.y = rects[rects_ptr].y + 10;
		//osMessageQueuePut(queueTscUiHandle, &msg, 0U, portMAX_DELAY);

		switch( usb_msg.type )
		{
		case 0: // press
			if( usb_msg.button == 3 )
			{
				rects_pressed = 1;
				msg.p = 1;
				msg.x = rects[rects_ptr].x + rects[rects_ptr].w/2 + 240;
				msg.y = rects[rects_ptr].y + rects[rects_ptr].h/2;
				osMessageQueuePut(queueTscUiHandle, &msg, 0U, portMAX_DELAY);
			}
			break;
		case 1: // release
			if( usb_msg.button == 3 )
			{
				rects_pressed = 0;
				msg.p = 0;
				msg.x = rects[rects_ptr].x + rects[rects_ptr].w/2 + 240;
				msg.y = rects[rects_ptr].y + rects[rects_ptr].h/2;
				osMessageQueuePut(queueTscUiHandle, &msg, 0U, portMAX_DELAY);
			}
			break;
		case 2: // wheel
			if( usb_msg.y == 120 )
			{
				if( rects_ptr > 0 )
				{
					rects_ptr -= 1;
				}
				else
				{
					rects_ptr = rects_max-1;
				}
			}
			else// if( usb_msg.y > 0 )
			{
	    		if( rects_ptr < rects_max )
	    		{
	    			rects_ptr += 1;
	    		}
	    		else
	    		{
	        		rects_ptr = 0;
	    		}
			}

			{
				rects_pressed = 0;
				msg.p = 0;
				msg.x = rects[rects_ptr].x + rects[rects_ptr].w/2 + 240;
				msg.y = rects[rects_ptr].y + rects[rects_ptr].h/2;
				osMessageQueuePut(queueTscUiHandle, &msg, 0U, portMAX_DELAY);
			}

			/*struct nk_rect *bounds;
			bounds = &rects[rects_ptr];
			extern tLcd lcd;
		    if( osSemaphoreAcquire( semaphoreLcdHandle, portMAX_DELAY ) == osOK )
		    {
		    	if( 0 <= (int)bounds->y && (int)bounds->y < 320 && 0 <= (int)bounds->y+(int)bounds->h && (int)bounds->y+(int)bounds->h < 320 )
		    	{
					lcd_hline( &lcd, (int)bounds->x, (int)bounds->y, (int)bounds->w, LCD_COLOR_GREEN );
					lcd_hline( &lcd, (int)bounds->x, (int)bounds->y+(int)bounds->h, (int)bounds->w, LCD_COLOR_GREEN );
					lcd_vline( &lcd, (int)bounds->x, (int)bounds->y, (int)bounds->h, LCD_COLOR_GREEN );
					lcd_vline( &lcd, (int)bounds->x+(int)bounds->w, (int)bounds->y, (int)bounds->h, LCD_COLOR_GREEN );
					uint8_t buffer[32];
					snprintf( buffer, sizeof(buffer), "%d", rects_ptr );
					font_draw_text( &fontUbuntuBookRNormal16, (int)bounds->x, (int)bounds->y, buffer, LCD_COLOR_GREEN, lcd_set_pixel, &lcd );
					if( rects_ptr == rects_max )
					{
						lcd_rect( &lcd, (int)bounds->x, (int)bounds->y, 5, 5, LCD_COLOR_GREEN );
					}

					//rects[rects_max] = *bounds;
					//rects_max += 1;
		    	}
		        osSemaphoreRelease( semaphoreLcdHandle );
		    }*/

			break;

		}
		usb_buf_flag = 0;

	}

	  /*for( i = 0 ; i < 80 ; i++ )
	  {
	      if( osSemaphoreAcquire( semaphoreLcdHandle, portMAX_DELAY ) == osOK )
	      {
			  for( j = 0 ; j < 240 ; j++ )
			  {
				  lcd_buf[j] = framebuf_get_pixel( &fb, j, i );
			  }
	      //    lcd_get_bmp( &lcd, 0, i, 480, 1, lcd_buf );
	          osSemaphoreRelease( semaphoreLcdHandle );
	      }
	      lcd_buf[0] = i;
	      lcd_buf[1] = 0;
	      extern uint8_t usb_done;
	      usb_done = 0;
	      while( 1 == CDC_Transmit_FS( lcd_buf, 480*2 ) )
	      {
	    	  osDelay(1);
	      }
	      while( !usb_done )
	      {
	    	  osDelay(1);
	      }
	  }*/

      osDelay(10);
  }
  /* USER CODE END StartDefaultTask */
}

void _StartTaskTsc(void *argument)
{
  for(;;)
  {
    osDelay(1);
  }
}

/* USER CODE BEGIN Application */
void ConfigureRuntimeStatsTimer() {
    TIM_HandleTypeDef htim8;

    // Enable TIM8 clock
    __HAL_RCC_TIM8_CLK_ENABLE();

    // Initialize TIM8 handle
    htim8.Instance = TIM8;
    htim8.Init.Prescaler = (uint32_t)(SystemCoreClock / 1000) - 1;  // 1 kHz timer frequency
    htim8.Init.CounterMode = TIM_COUNTERMODE_UP;
    htim8.Init.Period = 999;  // 1 ms period
    htim8.Init.ClockDivision = TIM_CLOCKDIVISION_DIV1;
    htim8.Init.RepetitionCounter = 0;

    if (HAL_TIM_Base_Init(&htim8) != HAL_OK) {
        // Initialization Error
        Error_Handler();  // Implement your error handling mechanism here
    }

    // Start the TIM8 base timer in interrupt mode
    if (HAL_TIM_Base_Start_IT(&htim8) != HAL_OK) {
        // Start Error
        Error_Handler();  // Implement your error handling mechanism here
    }

    // Enable TIM8 interrupt in NVIC
   // HAL_NVIC_SetPriority(TIM8_UP_TIM13_IRQn, configLIBRARY_MAX_SYSCALL_INTERRUPT_PRIORITY, 0);
  //  HAL_NVIC_EnableIRQ(TIM8_UP_TIM13_IRQn);
}
// TIM8 interrupt handler
void _TIM8_UP_TIM13_IRQHandler() {
    // Clear timer interrupt flag
   // __HAL_TIM_CLEAR_IT(&htim8, TIM_IT_UPDATE);

    // Update FreeRTOS tick count
    //vTaskStepTick();
}
uint32_t get_tim8_cnt()
{
	return TIM8->CNT;
}
/* USER CODE END Application */
